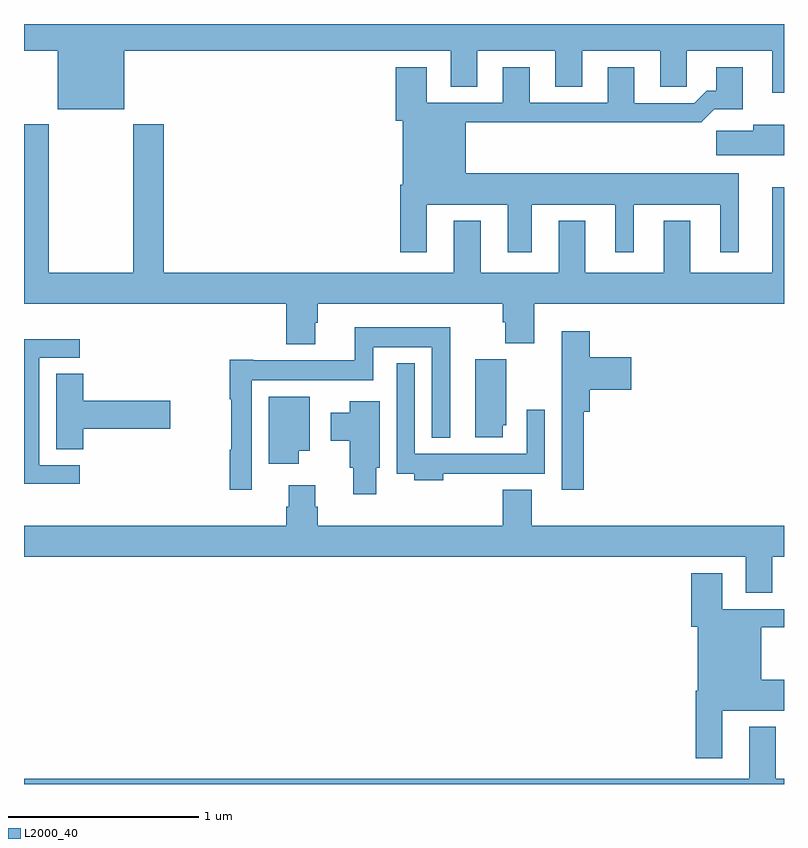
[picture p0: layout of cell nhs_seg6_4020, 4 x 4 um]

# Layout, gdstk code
import gdstk
lib = gdstk.Library(unit=1e-6, precision=1e-09)
def P(c, l, *ps):  # polygons
    for p in ps: c.add(gdstk.Polygon(p, *l))
L2000_40 = (2000, 40)

nhs_seg6_4020 = lib.new_cell('nhs_seg6_4020')
P(nhs_seg6_4020, L2000_40, [(349.528,923.36),(351.245,923.36),(351.245,923.17),(351.385,923.17),(351.385,923.36),(351.797,923.36),(351.797,923.17),(351.937,923.17),(351.937,923.36),(352.349,923.36),(352.349,923.17),(352.488,923.17),(352.488,923.36),(352.937,923.36),(352.937,923.139),(353,923.139),(353,923.5),(349,923.5),(349,923.36),(349.178,923.36),(349.178,923.051),(349.528,923.051)],
  [(351.121,922.55),(351.545,922.55),(351.545,922.299),(351.673,922.299),(351.673,922.55),(352.112,922.55),(352.112,922.299),(352.21,922.299),(352.21,922.55),(352.664,922.55),(352.664,922.299),(352.762,922.299),(352.762,922.714),(351.325,922.714),(351.325,922.984),(352.309,922.984),(352.309,922.982),(352.565,922.982),(352.634,923.051),(352.783,923.051),(352.783,923.272),(352.643,923.272),(352.643,923.149),(352.594,923.149),(352.527,923.082),(352.213,923.082),(352.213,923.272),(352.073,923.272),(352.073,923.085),(351.661,923.085),(351.661,923.272),(351.521,923.272),(351.521,923.085),(351.121,923.085),(351.121,923.272),(350.957,923.272),(350.957,922.992),(350.993,922.992),(350.993,922.654),(350.981,922.654),(350.981,922.299),(351.121,922.299)],
  [(350.533,921.927),(350.546,921.927),(350.546,922.028),(351.521,922.028),(351.521,921.929),(351.533,921.929),(351.533,921.82),(351.686,921.82),(351.686,922.028),(353,922.028),(353,922.642),(352.937,922.642),(352.937,922.192),(352.507,922.192),(352.507,922.465),(352.367,922.465),(352.367,922.192),(351.955,922.192),(351.955,922.465),(351.815,922.465),(351.815,922.192),(351.403,922.192),(351.403,922.465),(351.263,922.465),(351.263,922.192),(349.736,922.192),(349.736,922.972),(349.576,922.972),(349.576,922.192),(349.131,922.192),(349.131,922.972),(349,922.972),(349,922.028),(350.381,922.028),(350.381,921.815),(350.533,921.815)],
  [(353,922.969),(352.838,922.969),(352.838,922.937),(352.644,922.937),(352.644,922.808),(353,922.808)],
  [(350.199,921.626),(350.838,921.626),(350.838,921.8),(351.147,921.8),(351.147,921.323),(351.244,921.323),(351.244,921.904),(350.741,921.904),(350.741,921.73),(350.206,921.73),(350.206,921.733),(350.083,921.733),(350.083,921.526),(350.091,921.526),(350.091,921.26),(350.083,921.26),(350.083,921.048),(350.199,921.048)],
  [(351.947,921.458),(351.977,921.458),(351.977,921.575),(352.195,921.575),(352.195,921.745),(351.977,921.745),(351.977,921.883),(351.83,921.883),(351.83,921.591),(351.831,921.591),(351.831,921.048),(351.947,921.048)],
  [(349.294,921.177),(349.08,921.177),(349.08,921.744),(349.294,921.744),(349.294,921.84),(349,921.84),(349,921.079),(349.294,921.079)],
  [(351.52,921.387),(351.538,921.387),(351.538,921.735),(351.374,921.735),(351.374,921.324),(351.52,921.324)],
  [(351.206,921.132),(351.437,921.132),(351.437,921.134),(351.741,921.134),(351.741,921.469),(351.645,921.469),(351.645,921.238),(351.057,921.238),(351.057,921.715),(350.961,921.715),(350.961,921.132),(351.053,921.132),(351.053,921.098),(351.206,921.098)],
  [(349.313,921.371),(349.771,921.371),(349.771,921.518),(349.313,921.518),(349.313,921.659),(349.169,921.659),(349.169,921.262),(349.313,921.262)],
  [(350.446,921.254),(350.503,921.254),(350.503,921.538),(350.288,921.538),(350.288,921.186),(350.446,921.186)],
  [(350.854,921.165),(350.872,921.165),(350.872,921.514),(350.714,921.514),(350.714,921.454),(350.615,921.454),(350.615,921.307),(350.714,921.307),(350.714,921.165),(350.732,921.165),(350.732,921.024),(350.854,921.024)],
  [(352.939,920.696),(353,920.696),(353,920.86),(351.673,920.86),(351.673,921.049),(351.521,921.049),(351.521,920.86),(350.546,920.86),(350.546,920.958),(350.533,920.958),(350.533,921.073),(350.393,921.073),(350.393,920.958),(350.381,920.958),(350.381,920.86),(349,920.86),(349,920.696),(352.799,920.696),(352.799,920.506),(352.939,920.506)],
  [(352.675,919.886),(353,919.886),(353,920.05),(352.879,920.05),(352.879,920.324),(353,920.324),(353,920.421),(352.675,920.421),(352.675,920.608),(352.511,920.608),(352.511,920.328),(352.547,920.328),(352.547,919.99),(352.535,919.99),(352.535,919.635),(352.675,919.635)],
  [(349,919.5),(353,919.5),(353,919.528),(352.957,919.528),(352.957,919.801),(352.817,919.801),(352.817,919.528),(349,919.528)])

lib.write_gds('nhs_seg6_4020.gds')
